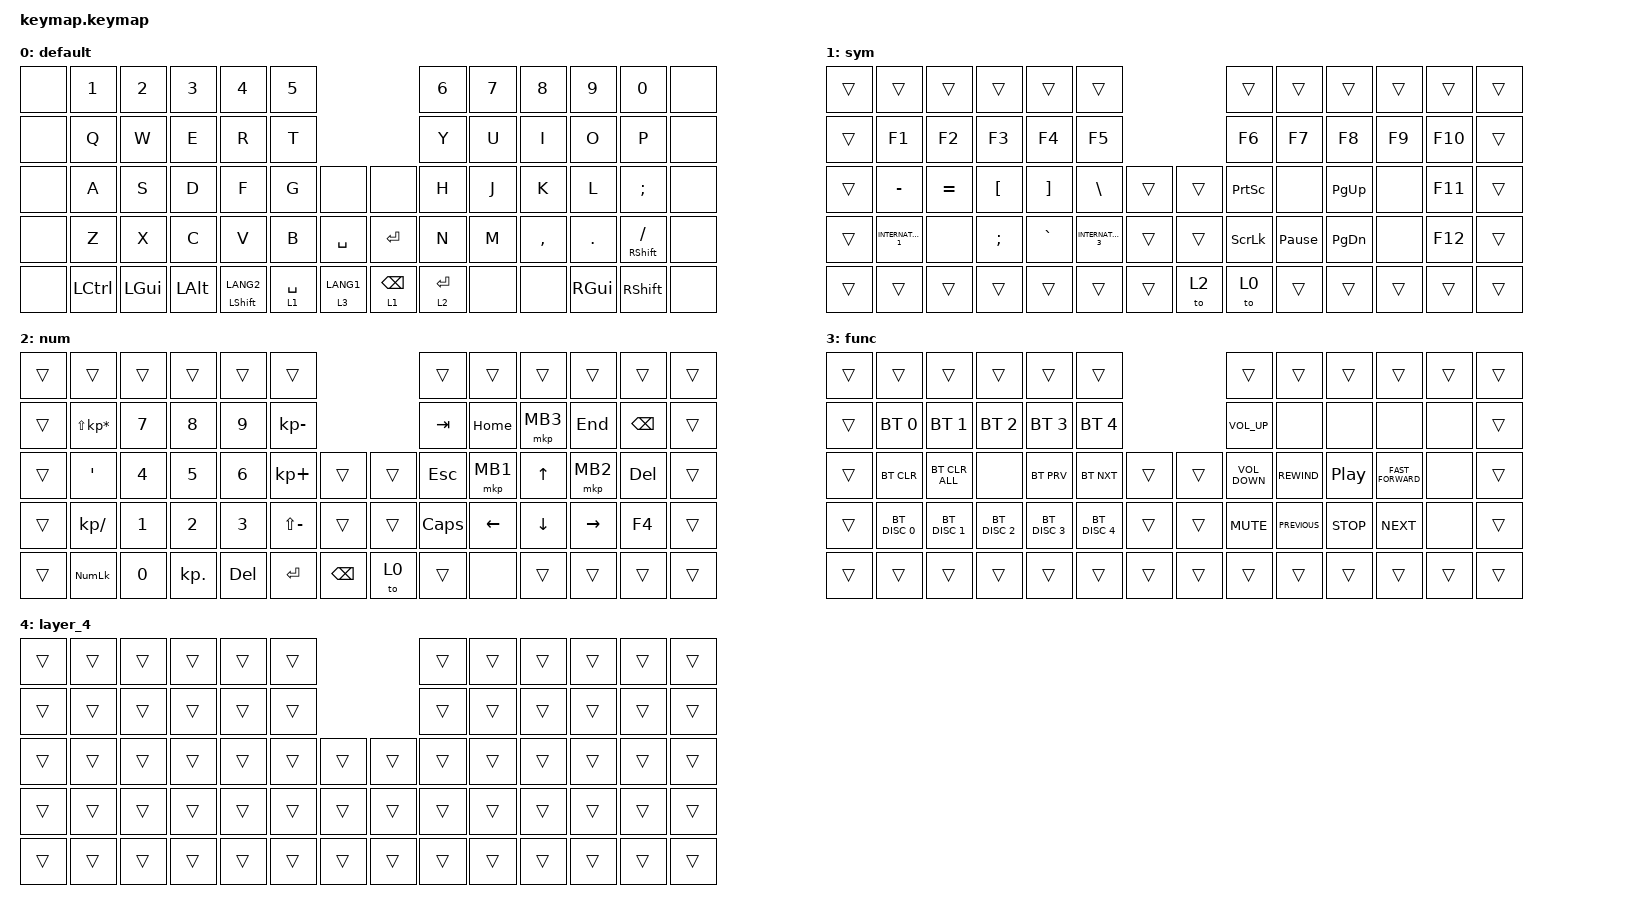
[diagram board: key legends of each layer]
#include <behaviors.dtsi>
#include <dt-bindings/zmk/bt.h>
#include <dt-bindings/zmk/keys.h>
#include <dt-bindings/zmk/pointing.h>

/ {
    combos {
        compatible = "zmk,combos";

        bt_clear {
            bindings = <&bt BT_CLR>;
            key-positions = <28 29>;
            layers = <3>;
        };
    };

    behaviors {
        lt_repeat: lt_repeat {
            compatible = "zmk,behavior-hold-tap";
            label = "LAYER_TAP_REPEAT";
            bindings = <&mo>, <&kp>;

            #binding-cells = <2>;
            flavor = "hold-preferred";  // 長押しを少し強めに優先
            tapping-term-ms = <1000>;    // 長押し判定（好みに応じて200〜300で調整）
            quick-tap-ms = <900>;      // タップ+長押しでリピートさせる時間
        };
    };

    keymap {
        compatible = "zmk,keymap";

        default {
            bindings = <
&none  &kp N1     &kp N2    &kp N3    &kp N4                &kp N5                                                          &kp N6              &kp N7  &kp N8     &kp N9    &kp N0                &none
&none  &kp Q      &kp W     &kp E     &kp R                 &kp T                                                           &kp Y               &kp U   &kp I      &kp O     &kp P                 &none
&none  &kp A      &kp S     &kp D     &kp F                 &kp G               &none               &none                   &kp H               &kp J   &kp K      &kp L     &kp SEMI              &none
&none  &kp Z      &kp X     &kp C     &kp V                 &kp B               &kp SPACE           &kp RET                 &kp N               &kp M   &kp COMMA  &kp DOT   &mt RIGHT_SHIFT FSLH  &none
&none  &kp LCTRL  &kp LGUI  &kp LALT  &mt LEFT_SHIFT LANG2  &lt_repeat 1 SPACE  &lt_repeat 3 LANG1  &lt_repeat 1 BACKSPACE  &lt_repeat 2 ENTER  &none   &none      &kp RGUI  &kp RIGHT_SHIFT       &none
            >;
        };

        sym {
            bindings = <
&trans  &trans               &trans     &trans            &trans             &trans                               &trans           &trans           &trans         &trans  &trans   &trans
&trans  &kp F1               &kp F2     &kp F3            &kp F4             &kp F5                               &kp F6           &kp F7           &kp F8         &kp F9  &kp F10  &trans
&trans  &kp MINUS            &kp EQUAL  &kp LEFT_BRACKET  &kp RIGHT_BRACKET  &kp BACKSLASH        &trans  &trans  &kp PRINTSCREEN  &none            &kp PAGE_UP    &none   &kp F11  &trans
&trans  &kp INTERNATIONAL_1  &none      &kp SEMI          &kp GRAVE          &kp INTERNATIONAL_3  &trans  &trans  &kp SCROLLLOCK   &kp PAUSE_BREAK  &kp PAGE_DOWN  &none   &kp F12  &trans
&trans  &trans               &trans     &trans            &trans             &trans               &trans  &to 2   &to 0            &trans           &trans         &trans  &trans   &trans
            >;
        };

        num {
            bindings = <
&trans  &trans               &trans  &trans      &trans   &trans                                &trans    &trans          &trans          &trans           &trans         &trans
&trans  &kp LS(KP_MULTIPLY)  &kp N7  &kp N8      &kp N9   &kp KP_MINUS                          &kp TAB   &kp HOME        &mkp MB3        &kp END          &kp BACKSPACE  &trans
&trans  &kp SQT              &kp N4  &kp N5      &kp N6   &kp KP_PLUS    &trans         &trans  &kp ESC   &mkp MB1        &kp UP_ARROW    &mkp MB2         &kp DEL        &trans
&trans  &kp KP_DIVIDE        &kp N1  &kp N2      &kp N3   &kp LS(MINUS)  &trans         &trans  &kp CAPS  &kp LEFT_ARROW  &kp DOWN_ARROW  &kp RIGHT_ARROW  &kp F4         &trans
&trans  &kp KP_NUMLOCK       &kp N0  &kp KP_DOT  &kp DEL  &kp ENTER      &kp BACKSPACE  &to 0   &trans    &none           &trans          &trans           &trans         &trans
            >;
        };

        func {
            bindings = <
&trans  &trans         &trans          &trans         &trans         &trans                         &trans             &trans          &trans            &trans              &trans  &trans
&trans  &bt BT_SEL 0   &bt BT_SEL 1    &bt BT_SEL 2   &bt BT_SEL 3   &bt BT_SEL 4                   &kp C_VOLUME_UP    &none           &none             &none               &none   &trans
&trans  &bt BT_CLR     &bt BT_CLR_ALL  &none          &bt BT_PRV     &bt BT_NXT     &trans  &trans  &kp C_VOLUME_DOWN  &kp C_REWIND    &kp C_PLAY_PAUSE  &kp C_FAST_FORWARD  &none   &trans
&trans  &bt BT_DISC 0  &bt BT_DISC 1   &bt BT_DISC 2  &bt BT_DISC 3  &bt BT_DISC 4  &trans  &trans  &kp C_MUTE         &kp C_PREVIOUS  &kp C_STOP        &kp C_NEXT          &none   &trans
&trans  &trans         &trans          &trans         &trans         &trans         &trans  &trans  &trans             &trans          &trans            &trans              &trans  &trans
            >;
        };

        layer_4 {
            bindings = <
&trans  &trans  &trans  &trans  &trans  &trans                  &trans  &trans  &trans  &trans  &trans  &trans
&trans  &trans  &trans  &trans  &trans  &trans                  &trans  &trans  &trans  &trans  &trans  &trans
&trans  &trans  &trans  &trans  &trans  &trans  &trans  &trans  &trans  &trans  &trans  &trans  &trans  &trans
&trans  &trans  &trans  &trans  &trans  &trans  &trans  &trans  &trans  &trans  &trans  &trans  &trans  &trans
&trans  &trans  &trans  &trans  &trans  &trans  &trans  &trans  &trans  &trans  &trans  &trans  &trans  &trans
            >;
        };
    };
};
